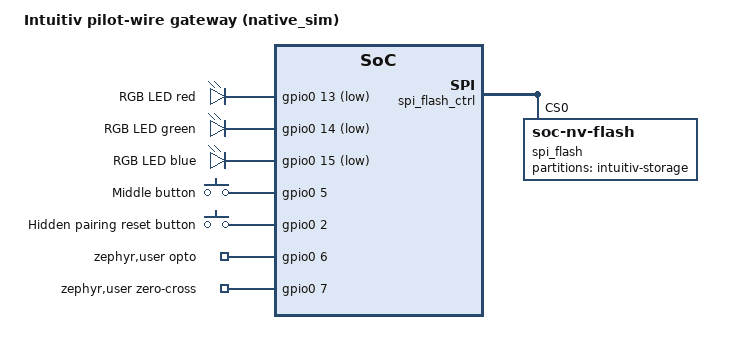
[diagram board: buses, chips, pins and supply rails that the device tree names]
/*
 * SPDX-License-Identifier: Apache-2.0
 *
 * native_sim with the intuitiv board's devices under the same labels and
 * aliases: RGB LED (active low), two buttons (active high), pilot-wire
 * GPIOs, and the 8 MiB SPI NOR as a flash simulator.
 */

#include <../boards/native/native_sim/native_sim.dts>
#include <zephyr/dt-bindings/input/input-event-codes.h>

/ {
	model = "Intuitiv pilot-wire gateway (native_sim)";

	chosen {
		zephyr,settings-partition = &intuitiv_storage;
	};

	leds {
		compatible = "gpio-leds";

		led_red: led_red {
			gpios = <&gpio0 13 GPIO_ACTIVE_LOW>;
			label = "RGB LED red";
		};

		led_green: led_green {
			gpios = <&gpio0 14 GPIO_ACTIVE_LOW>;
			label = "RGB LED green";
		};

		led_blue: led_blue {
			gpios = <&gpio0 15 GPIO_ACTIVE_LOW>;
			label = "RGB LED blue";
		};
	};

	buttons {
		compatible = "gpio-keys";

		button_middle: button_middle {
			gpios = <&gpio0 5 (GPIO_ACTIVE_HIGH | GPIO_PULL_DOWN)>;
			label = "Middle button";
			zephyr,code = <INPUT_KEY_0>;
		};

		button_pairing: button_pairing {
			gpios = <&gpio0 2 (GPIO_ACTIVE_HIGH | GPIO_PULL_DOWN)>;
			label = "Hidden pairing reset button";
			zephyr,code = <INPUT_KEY_1>;
		};
	};

	zephyr,user {
		opto-gpios = <&gpio0 6 GPIO_ACTIVE_HIGH>;
		zero-cross-gpios = <&gpio0 7 GPIO_ACTIVE_HIGH>;
	};

	aliases {
		led0 = &led_red;
		led1 = &led_green;
		led2 = &led_blue;
		sw0 = &button_middle;
		sw1 = &button_pairing;
	};

	/* AT25SF641 stand-in: 8 MiB, 4 KiB erase sectors */
	spi_flash_ctrl: flash-controller@8000000 {
		compatible = "zephyr,sim-flash";
		reg = <0x08000000 DT_SIZE_M(8)>;
		#address-cells = <1>;
		#size-cells = <1>;
		erase-value = <0xff>;

		spi_flash: flash@0 {
			compatible = "soc-nv-flash";
			reg = <0x0 DT_SIZE_M(8)>;
			erase-block-size = <4096>;
			write-block-size = <1>;

			partitions {
				compatible = "fixed-partitions";
				#address-cells = <1>;
				#size-cells = <1>;

				/* Same 64 KiB settings area as the board */
				intuitiv_storage: partition@0 {
					label = "intuitiv-storage";
					reg = <0x0 DT_SIZE_K(64)>;
				};
			};
		};
	};
};
